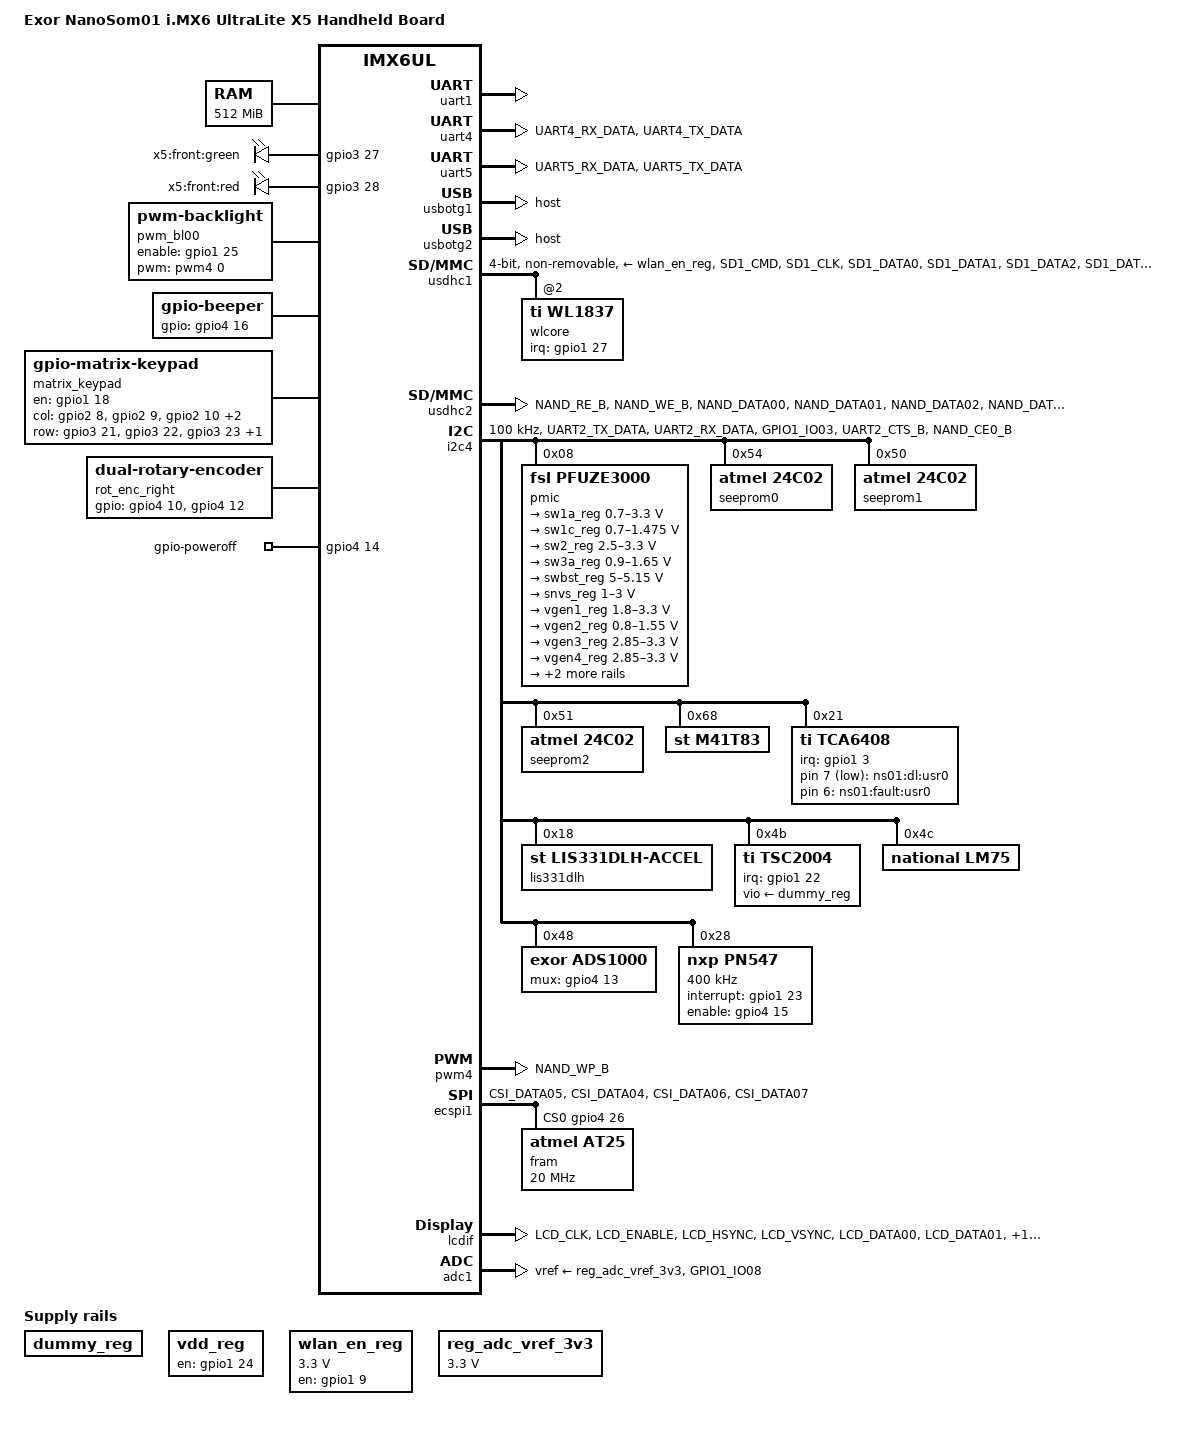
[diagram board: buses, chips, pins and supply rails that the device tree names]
/*
 * Copyright (C) 2018 Exor International.
 *
 * This program is free software; you can redistribute it and/or modify
 * it under the terms of the GNU General Public License version 2 as
 * published by the Free Software Foundation.
 */

/dts-v1/;

#include <dt-bindings/input/input.h>
#include "imx6ul.dtsi"

/ {
    model = "Exor NanoSom01 i.MX6 UltraLite X5 Handheld Board";
    compatible = "exor,ns01-ek435", "fsl,imx6ul";

    aliases {
        i2c3 = &i2c1;
        i2c1 = &i2c2;
        i2c2 = &i2c3;
        i2c0 = &i2c4;
        serial0 = &uart1;
        serial1 = &uart6;
        serial2 = &uart5;
        serial3 = &uart4;
        serial4 = &uart3;
        serial5 = &uart2;
        serial6 = &uart7;
        serial7 = &uart8;
		watchdog0 = &wdog1;
    };

    chosen {
        stdout-path = &uart1;
    };

    memory {
        reg = <0x80000000 0x20000000>;
    };

    regulators {
        compatible = "simple-bus";
        #address-cells = <1>;
        #size-cells = <0>;

        dummy_reg: regulator@0 {
            compatible = "regulator-fixed";
            reg = <0>;
            regulator-name = "dummy-supply";
            regulator-boot-on;
        };

        vdd_reg: regulator@1 {
            compatible = "regulator-fixed";
            reg = <1>;
            regulator-name = "vdd-supply";
            gpio = <&gpio1 24 0>;
            enable-active-high;
            regulator-boot-on;
            regulator-always-on;
        };

        wlan_en_reg: fixedregulator@2 {
            compatible = "regulator-fixed";
            reg = <2>;
            regulator-name = "wlan-en-regulator";
            regulator-min-microvolt = <3300000>;
            regulator-max-microvolt = <3300000>;
            /* WLAN_EN GPIO for this board */
            gpio = <&gpio1 9 0>;
            /* WLAN card specific delay */
            startup-delay-us = <70000>;
            enable-active-high;
        };

		reg_adc_vref_3v3: regulator@2 {
			compatible = "regulator-fixed";
			regulator-name = "vref-3v3";
			regulator-min-microvolt = <3300000>;
			regulator-max-microvolt = <3300000>;
		};

    };

    leds {
        compatible = "gpio-leds";
        pinctrl-names = "default";
        pinctrl-0 = <&pinctrl_leds>;

        led@1 {
            label = "ns01:dl:usr0";
            gpios = <&tca6408 7 1>;
            default-state = "on";
        };

        led@2 {
            label = "ns01:fault:usr0";
            gpios = <&tca6408 6 0>;
            default-state = "off";
        };

        led@3 {
            label = "x5:front:green";
            gpios = <&gpio3 27 0>;
            default-state = "on";
        };

        led@4 {
            label = "x5:front:red";
            gpios = <&gpio3 28 0>;
            default-state = "off";
        };
    };

    pwm_bl00: backlight {
        compatible = "pwm-backlight";
        pwms = <&pwm4 0 50000>;
        brightness-levels = <0 4 8 12 16 20 24 28 32 36 40 44 48 52 56 60 64 68 72 76 80 84 88 92 96 100>;
        default-brightness-level = <0>;
        enable-gpios = <&gpio1 25 0>;
        status = "okay";
    };

	beeper {
		/* Piezoelectric buzzer */
		compatible = "gpio-beeper";
		pinctrl-0 = <&pinctrl_beeper>;
		pinctrl-names = "default";
		gpios = <&gpio4 16 GPIO_ACTIVE_HIGH>;
	};

	matrix_keypad {
		compatible = "gpio-matrix-keypad";
		pinctrl-names = "default";
		pinctrl-0 = <&pinctrl_keypad>;
		debounce-delay-ms = <10>;
		col-scan-delay-ms = <10>;
		gpio-activelow;
		gpio-colactivehigh;
		engpio = <&gpio1 18 0>;
		shutdown-code=<0x00BB00BD>;	/* KEY_F17 (00BB) + KEY_F19 (00BD) */
		shutdown-count=<25>;		/* 25 * 200mS = 5 secs */
		status = "okay";

		/* Output */
		col-gpios = <
			&gpio2 8  0
			&gpio2 9  0
			&gpio2 10 0
			&gpio2 11 0
			&gpio2 12 0
		>;

		/* Input */
		row-gpios = <
			&gpio3 21 0
			&gpio3 22 0
			&gpio3 23 0
			&gpio3 24 0
		>;

		/* row << 24 | column << 16 | key-code */
		linux,keymap = <
			0x0000003B	/* KEY_F1	(0)	*/
			0x0100003C	/* KEY_F2	(5)	*/
			0x0200003D	/* KEY_F3	(10)	*/
			0x0300003E	/* KEY_F4	(15)	*/

			0x0001003F	/* KEY_F5	(1)	*/
			0x01010040	/* KEY_F6	(6)	*/
			0x02010041	/* KEY_F7	(11)	*/
			0x03010042	/* KEY_F8	(16)	*/

			0x00020043	/* KEY_F9	(2)	*/
			0x01020044	/* KEY_F10	(7)	*/
			0x02020057	/* KEY_F11	(12)	*/
			0x03020058	/* KEY_F12	(17)	*/

			0x000300B7	/* KEY_F13	(3)	*/
			0x010300B8	/* KEY_F14	(8)	*/
			0x020300B9	/* KEY_F15	(13)	*/
			0x030300BA	/* KEY_F16	(18)	*/

			0x000400BB	/* KEY_F17	(4)	*/
			0x010400BC	/* KEY_F18	(9)	*/
			0x020400BD	/* KEY_F19	(14)	*/
			0x03040000  /* KEY_RESERVED		*/
		>;
	};

    working_hours {
        compatible = "working_hours";
        eeprom = <&seeprom0>;
        rtcnvram = <&m41t83>;
        status = "okay";
    };

    rot_enc_right {
        compatible = "dual-rotary-encoder";
        pinctrl-names = "default";
        pinctrl-0 = <&pinctrl_encoderpad>;
        gpios = <&gpio4 10 0>, <&gpio4 12 0>;
        linux,axis = <0x08>; /* REL_WHEEL / ABS_WHEEL */
        rotary-encoder,encoding = "gray";
        rotary-encoder,steps = <32768>;
        rotary-encoder,rollover;
    };

    gpio-poweroff {
        compatible = "gpio-poweroff";
        pinctrl-names = "default";
        pinctrl-0 = <&pinctrl_poweroffpad>;
        gpios = <&gpio4 14 0>;
    };
};

&clks {
    assigned-clocks = <&clks IMX6UL_CLK_PLL4_AUDIO_DIV>;
    assigned-clock-rates = <786432000>;
};

&cpu0 {
    arm-supply = <&reg_arm>;
    soc-supply = <&reg_soc>;
};

&gpc {
    fsl,cpu_pupscr_sw2iso = <0x2>;
    fsl,cpu_pupscr_sw = <0x1>;
    fsl,cpu_pdnscr_iso2sw = <0x1>;
    fsl,cpu_pdnscr_iso = <0x1>;
    fsl,wdog-reset = <1>; /* watchdog select of reset source */
    fsl,ldo-bypass = <1>; /* use ldo-bypass, u-boot will check it and configure */
};



&uart1 {
    pinctrl-names = "default";
    status = "okay";
	/delete-property/dmas;
	/delete-property/dma-names;	
};

&uart4 {
    pinctrl-names = "default";
    pinctrl-0 = <&pinctrl_uart4>;
    fsl,uart-has-rtscts;
    status = "okay";
};

&uart5 {
    pinctrl-names = "default";
    pinctrl-0 = <&pinctrl_uart5>;
    fsl,uart-has-rtscts;
    status = "okay";
};

&usbotg1 {
    dr_mode = "host";
    status = "okay";
};

&usbotg2 {
    dr_mode = "host";
    status = "okay";
};

&usdhc1 {
	pinctrl-names = "default";
	pinctrl-0 = <&pinctrl_usdhc1>;
	bus-width = <4>;
	vmmc-supply = <&wlan_en_reg>;
	non-removable;		/* non-removable is not a variable, the fact it is */
						/* listed is all that is used by driver  */
	cap-power-off-card;
	#address-cells = <1>;
	#size-cells = <0>;
	keep-power-in-suspend;
	enable-sdio-wakeup;
	max-frequency = <25000000>;
	status = "okay";

	wlcore: wlcore@0 {
		compatible = "ti,wl1837";
		reg = <2>;
		interrupt-parent = <&gpio1>;
		interrupts = <27 IRQ_TYPE_EDGE_FALLING>;
	};
};

&usdhc2 {
    pinctrl-names = "default";
    pinctrl-0 = <&pinctrl_usdhc2>;
    no-1-8-v;
    keep-power-in-suspend;
    enable-sdio-wakeup;
    status = "okay";
};

&i2c4 {
    clock-frequency = <100000>;
    pinctrl-names = "default";
    pinctrl-0 = <&pinctrl_i2c4>;
    status = "okay";

    pmic: pfuze3000@08 {
        compatible = "fsl,pfuze3000";
        reg = <0x08>;

        regulators {
            sw1a_reg: sw1a {
                    regulator-min-microvolt = <700000>;
                    regulator-max-microvolt = <3300000>;
                    regulator-boot-on;
                    regulator-always-on;
                    regulator-ramp-delay = <6250>;
            };

            /* use sw1c_reg to align with pfuze100/pfuze200 */
            sw1c_reg: sw1b {
                regulator-min-microvolt = <700000>;
                regulator-max-microvolt = <1475000>;
                regulator-boot-on;
                regulator-always-on;
                regulator-ramp-delay = <6250>;
            };

            sw2_reg: sw2 {
                regulator-min-microvolt = <2500000>;
                regulator-max-microvolt = <3300000>;
                regulator-boot-on;
                regulator-always-on;
            };

            sw3a_reg: sw3 {
                regulator-min-microvolt = <900000>;
                regulator-max-microvolt = <1650000>;
                regulator-boot-on;
                regulator-always-on;
            };

            swbst_reg: swbst {
                regulator-min-microvolt = <5000000>;
                regulator-max-microvolt = <5150000>;
                regulator-boot-on;
                regulator-always-on;
            };

            snvs_reg: vsnvs {
                regulator-min-microvolt = <1000000>;
                regulator-max-microvolt = <3000000>;
                regulator-boot-on;
                regulator-always-on;
            };

            vref_reg: vrefddr {
                regulator-boot-on;
                regulator-always-on;
            };

            vgen1_reg: vldo1 {
                regulator-min-microvolt = <1800000>;
                regulator-max-microvolt = <3300000>;
                regulator-always-on;
            };

            vgen2_reg: vldo2 {
                regulator-min-microvolt = <800000>;
                regulator-max-microvolt = <1550000>;
                regulator-always-on;
            };

            vgen3_reg: vccsd {
                regulator-min-microvolt = <2850000>;
                regulator-max-microvolt = <3300000>;
                regulator-always-on;
            };

            vgen4_reg: v33 {
                regulator-min-microvolt = <2850000>;
                regulator-max-microvolt = <3300000>;
                regulator-always-on;
            };

            vgen5_reg: vldo3 {
                regulator-min-microvolt = <1800000>;
                regulator-max-microvolt = <3300000>;
                regulator-always-on;
            };

            vgen6_reg: vldo4 {
                regulator-min-microvolt = <1800000>;
                regulator-max-microvolt = <3300000>;
                regulator-always-on;
            };
        };
    };

    seeprom0:seeprom0@54 {
        compatible = "atmel,24c02";
        reg = <0x54>;
    };

    seeprom1:seeprom1@50 {
        compatible = "atmel,24c02";
        reg = <0x50>;
    };

    seeprom2:seeprom2@51 {
        compatible = "atmel,24c02";
        reg = <0x51>;
    };

    m41t83:m41t83@68 {
        compatible = "st,m41t83";
        reg = <0x68>;
    };

    tca6408: tca6408@21 {
        compatible = "ti,tca6408";
        interrupt-parent = <&gpio1>;
        interrupts = <3 0x8>;
        gpio-controller;
        #gpio-cells = <2>;
        interrupt-controller;
        #interrupt-cells = <2>;
        reg = <0x21>;
        restart-if-fails;
    };

    lis331dlh@18 {
        /* Accelerometer */
        compatible = "st,lis331dlh-accel";
        reg = <0x18>;
    };

    tsc2004@4b {
        compatible = "ti,tsc2004";
        reg = <0x4B>;
        vio-supply = <&dummy_reg>;

        //MX6UL_PAD_UART2_CTS_B__GPIO1_IO22
        //reset-gpios = <&gpio4 8 GPIO_ACTIVE_HIGH>;
        interrupts-extended = <&gpio1 22 IRQ_TYPE_EDGE_RISING>;

        touchscreen-fuzz-x = <4>;
        touchscreen-fuzz-y = <7>;
        touchscreen-fuzz-pressure = <2>;
        touchscreen-size-x = <4096>;
        touchscreen-size-y = <4096>;
        touchscreen-max-pressure = <2048>;

        ti,x-plate-ohms = <280>;
        ti,esd-recovery-timeout-ms = <8000>;
    };

    lm75@4c {
        compatible = "national,lm75";
        reg = <0x4C>;
        status = "okay";
    };

    ads1000@48 {
        compatible = "exor,ads1000";
        reg = <0x48>;
        mux-gpio = <&gpio4 13 0>;
        status = "okay";
    };

	pn547: pn547@28 {
		compatible = "nxp,pn547";
		reg = <0x28>;
		clock-frequency = <400000>;
		interrupt-parent = <&gpio1>;
		interrupt-gpios = <&gpio1 23 0>;
		enable-gpios = <&gpio4 15 0>;
	};
/*
	sx8654@49 {
		compatible = "semtech,sx8654";
		reg = <0x49>;
		interrupt-parent = <&gpio1>;
		interrupts = <22 IRQ_TYPE_EDGE_FALLING>;
	};
*/
};

&pwm4 {
    pinctrl-names = "default";
    pinctrl-0 = <&pinctrl_pwm4>;
    clocks = <&clks IMX6UL_CLK_PWM4>,
     <&clks IMX6UL_CLK_PWM4>;
    status = "okay";
};

&fec1 {
	pinctrl-names = "default";
	pinctrl-0 = <&pinctrl_enet1>;
	phy-mode = "rmii";
	phy-handle = <&ethphy1>;
	phy-reset-gpios = <&gpio4 8 GPIO_ACTIVE_LOW>;
	phy-reset-duration = <30>;
	status = "disabled";    //no eth on Standard X5

	mdio {
		#address-cells = <1>;
		#size-cells = <0>;

		ethphy1: ethernet-phy@1 {
			reg = <1>;
		};
	};
};

&ecspi1 {
	fsl,spi-num-chipselects = <1>;
	cs-gpios = <&gpio4 26 0>;
	pinctrl-names = "default";
	pinctrl-0 = <&pinctrl_ecspi1>;
	status = "okay";
	/delete-property/dmas;
	/delete-property/dma-names;	

    fram: at25@2 {
        /* CS0 FRAM */
	    compatible = "atmel,at25", "st,m95256";
	    reg = <0>;
	    spi-max-frequency = <20000000>;
	    pagesize = <64>;
	    size = <65536>;
	    address-width = <16>;
	};
};


&snvs_pwrkey {
    status = "disabled";
};

&lcdif {
    pinctrl-names = "default";
    pinctrl-0 = <&pinctrl_lcdif>;
    display = <&lcdout0>;
    status = "okay";

    lcdout0: lcdout {
        bits-per-pixel = <16>;
        bus-width = <16>;

        display-timings {
            native-mode = <&timing0>;
            timing0: timing0 {
            clock-frequency = <9200000>;
            hactive = <480>;
            vactive = <272>;
            hfront-porch = <8>;
            hback-porch = <4>;
            hsync-len = <41>;
            vback-porch = <2>;
            vfront-porch = <4>;
            vsync-len = <10>;

            hsync-active = <0>;
            vsync-active = <0>;
            de-active = <1>;
            pixelclk-active = <0>;
            };
        };
    };
};

&adc1 {
	pinctrl-names = "default";
	pinctrl-0 = <&pinctrl_adc1>;
	vref-supply = <&reg_adc_vref_3v3>;
	num-channels = <9>;
	status = "okay";
};

&iomuxc {
	pinctrl-names = "default";
	pinctrl-0 = <&pinctrl_hog_1>;
	imx6ul-ns01 {
		pinctrl_usdhc1: usdhc1grp {
			fsl,pins = <
				MX6UL_PAD_SD1_CMD__USDHC1_CMD     0x170F9
				MX6UL_PAD_SD1_CLK__USDHC1_CLK     0x100F9
				MX6UL_PAD_SD1_DATA0__USDHC1_DATA0 0x170F9
				MX6UL_PAD_SD1_DATA1__USDHC1_DATA1 0x170F9
				MX6UL_PAD_SD1_DATA2__USDHC1_DATA2 0x170F9
				MX6UL_PAD_SD1_DATA3__USDHC1_DATA3 0x170F9
				MX6UL_PAD_UART1_RTS_B__GPIO1_IO19 0x170F9 /* SD1 CD */
				MX6UL_PAD_UART1_CTS_B__GPIO1_IO18 0x170F9 /* OFF DIS */
				MX6UL_PAD_UART3_RTS_B__GPIO1_IO27 0x170F9 /* WIFI IRQ */
				MX6UL_PAD_UART2_RTS_B__GPIO1_IO23 0x170F9 /* NFC IRQ */
				MX6UL_PAD_NAND_CLE__GPIO4_IO15    0x170F9 /* NFC Enable */
			>;
		};

		pinctrl_usdhc2: usdhc2grp {
			fsl,pins = <
				MX6UL_PAD_NAND_RE_B__USDHC2_CLK             0x17059
				MX6UL_PAD_NAND_WE_B__USDHC2_CMD             0x17059
				MX6UL_PAD_NAND_DATA00__USDHC2_DATA0         0x17059
				MX6UL_PAD_NAND_DATA01__USDHC2_DATA1         0x17059
				MX6UL_PAD_NAND_DATA02__USDHC2_DATA2         0x17059
				MX6UL_PAD_NAND_DATA03__USDHC2_DATA3         0x17059
			>;
		};

		pinctrl_hog_1: hoggrp-1 {
			fsl,pins = <
				MX6UL_PAD_UART3_TX_DATA__GPIO1_IO24         0x17059 /* EN_VDD */
				MX6UL_PAD_UART3_RX_DATA__GPIO1_IO25         0x17059 /* EN_BL */

				MX6UL_PAD_NAND_DATA07__GPIO4_IO09           0x17059
				MX6UL_PAD_GPIO1_IO09__GPIO1_IO09            0x17059
				MX6UL_PAD_ENET2_RX_ER__GPIO2_IO15           0x17059
			>;
		};

		pinctrl_i2c4: i2c4grp {
			fsl,pins = <
				MX6UL_PAD_UART2_TX_DATA__I2C4_SCL           0x4001b8b0
				MX6UL_PAD_UART2_RX_DATA__I2C4_SDA           0x4001b8b0
				MX6UL_PAD_GPIO1_IO03__GPIO1_IO03            0x17059 /* IO EXP PCA6408 IRQ pin */
				MX6UL_PAD_UART2_CTS_B__GPIO1_IO22           0x17059 /* TOUCH CONTR TSC2004 IRQ pin */
				MX6UL_PAD_NAND_CE0_B__GPIO4_IO13            0x17059 /* ADC ADS1000 MUX pin */
			>;
		};

		pinctrl_lcdif: lcdifdatgrp {
			fsl,pins = <
				MX6UL_PAD_LCD_CLK__LCDIF_CLK                0x00000028
				MX6UL_PAD_LCD_ENABLE__LCDIF_ENABLE          0x00000028
				MX6UL_PAD_LCD_HSYNC__LCDIF_HSYNC            0x00000028
				MX6UL_PAD_LCD_VSYNC__LCDIF_VSYNC            0x00000028

				MX6UL_PAD_LCD_DATA00__LCDIF_DATA00          0x00000028
				MX6UL_PAD_LCD_DATA01__LCDIF_DATA01          0x00000028
				MX6UL_PAD_LCD_DATA02__LCDIF_DATA02          0x00000028
				MX6UL_PAD_LCD_DATA03__LCDIF_DATA03          0x00000028
				MX6UL_PAD_LCD_DATA04__LCDIF_DATA04          0x00000028
				MX6UL_PAD_LCD_DATA05__LCDIF_DATA05          0x00000028
				MX6UL_PAD_LCD_DATA06__LCDIF_DATA06          0x00000028
				MX6UL_PAD_LCD_DATA07__LCDIF_DATA07          0x00000028
				MX6UL_PAD_LCD_DATA08__LCDIF_DATA08          0x00000028
				MX6UL_PAD_LCD_DATA09__LCDIF_DATA09          0x00000028
				MX6UL_PAD_LCD_DATA10__LCDIF_DATA10          0x00000028
				MX6UL_PAD_LCD_DATA11__LCDIF_DATA11          0x00000028
				MX6UL_PAD_LCD_DATA12__LCDIF_DATA12          0x00000028
				MX6UL_PAD_LCD_DATA13__LCDIF_DATA13          0x00000028
				MX6UL_PAD_LCD_DATA14__LCDIF_DATA14          0x00000028
				MX6UL_PAD_LCD_DATA15__LCDIF_DATA15          0x00000028
			>;
		};

		pinctrl_pwm4: pwm4grp {
			fsl,pins = <
				MX6UL_PAD_NAND_WP_B__PWM4_OUT               0x110b0
			>;
		};

		pinctrl_beeper: beeper0grp {
			fsl,pins = <
				MX6UL_PAD_NAND_DQS__GPIO4_IO16                0x110b0
			>;
		};

		pinctrl_enet1: enet1grp {
			fsl,pins = <
				MX6UL_PAD_ENET1_RX_EN__ENET1_RX_EN          0x0000E0B1
				MX6UL_PAD_ENET1_RX_ER__ENET1_RX_ER          0x0000E0B1
				MX6UL_PAD_ENET1_RX_DATA0__ENET1_RDATA00     0x0000E0B1
				MX6UL_PAD_ENET1_RX_DATA1__ENET1_RDATA01     0x0000E0B1
				MX6UL_PAD_ENET1_TX_EN__ENET1_TX_EN          0x0000E0B1
				MX6UL_PAD_ENET1_TX_DATA0__ENET1_TDATA00     0x0000E0B1
				MX6UL_PAD_ENET1_TX_DATA1__ENET1_TDATA01     0x0000E0B1
				MX6UL_PAD_ENET1_TX_CLK__ENET1_REF_CLK1      0x4b01b0a8

				MX6UL_PAD_NAND_DATA06__GPIO4_IO08           0x0000E0B1
				MX6UL_PAD_GPIO1_IO07__ENET1_MDC             0x0001b0b0
				MX6UL_PAD_GPIO1_IO06__ENET1_MDIO            0x0001b0b0
			>;
		};

		pinctrl_leds: ledsgrp {
			fsl,pins = <
				MX6UL_PAD_LCD_DATA22__GPIO3_IO27            0x10b0
				MX6UL_PAD_LCD_DATA23__GPIO3_IO28            0x10b0
			>;
		};

		pinctrl_uart4: uart4grp {
			fsl,pins = <
				MX6UL_PAD_UART4_RX_DATA__UART4_DCE_RX       0x0001B0B1
				MX6UL_PAD_UART4_TX_DATA__UART4_DCE_TX       0x0001B0B1
			>;
		};

		pinctrl_uart5: uart5grp {
			fsl,pins = <
				MX6UL_PAD_UART5_RX_DATA__UART5_DCE_RX       0x0001B0B1
				MX6UL_PAD_UART5_TX_DATA__UART5_DCE_TX       0x0001B0B1
			>;
		};

		pinctrl_keypad: keypadgrp {
			fsl,pins = <
				MX6UL_PAD_ENET2_RX_EN__GPIO2_IO10	    0x1b0b1
				MX6UL_PAD_ENET2_RX_DATA0__GPIO2_IO08	0x1b0b1
				MX6UL_PAD_ENET2_RX_DATA1__GPIO2_IO09	0x1b0b1
				MX6UL_PAD_ENET2_TX_DATA0__GPIO2_IO11    0x1b0b1
				MX6UL_PAD_ENET2_TX_DATA1__GPIO2_IO12    0x1b0b1

				MX6UL_PAD_LCD_DATA16__GPIO3_IO21	    0x1b0b1
				MX6UL_PAD_LCD_DATA17__GPIO3_IO22	    0x1b0b1
				MX6UL_PAD_LCD_DATA18__GPIO3_IO23	    0x1b0b1
				MX6UL_PAD_LCD_DATA19__GPIO3_IO24	    0x1b0b1
			>;
		};

		pinctrl_encoderpad: encodergrp {
			fsl,pins = <
				MX6UL_PAD_NAND_ALE__GPIO4_IO10	        0x1b0b1
				MX6UL_PAD_NAND_READY_B__GPIO4_IO12	    0x1b0b1
			>;
		};

		pinctrl_poweroffpad: poweroffgrp {
			fsl,pins = <
				MX6UL_PAD_NAND_CE1_B__GPIO4_IO14	    0x17059
			>;
		};


		pinctrl_ecspi1: ecspi1grp-1 {
			fsl,pins = <
				MX6UL_PAD_CSI_DATA05__GPIO4_IO26	0x10b0
				MX6UL_PAD_CSI_DATA04__ECSPI1_SCLK	0x10b0
				MX6UL_PAD_CSI_DATA06__ECSPI1_MOSI	0x10b0
				MX6UL_PAD_CSI_DATA07__ECSPI1_MISO	0x10b0
			>;
		};

		pinctrl_adc1: adc1grp {
			fsl,pins = <
				MX6UL_PAD_GPIO1_IO08__GPIO1_IO08	0x000010B0
			>;
		};

	};
};
